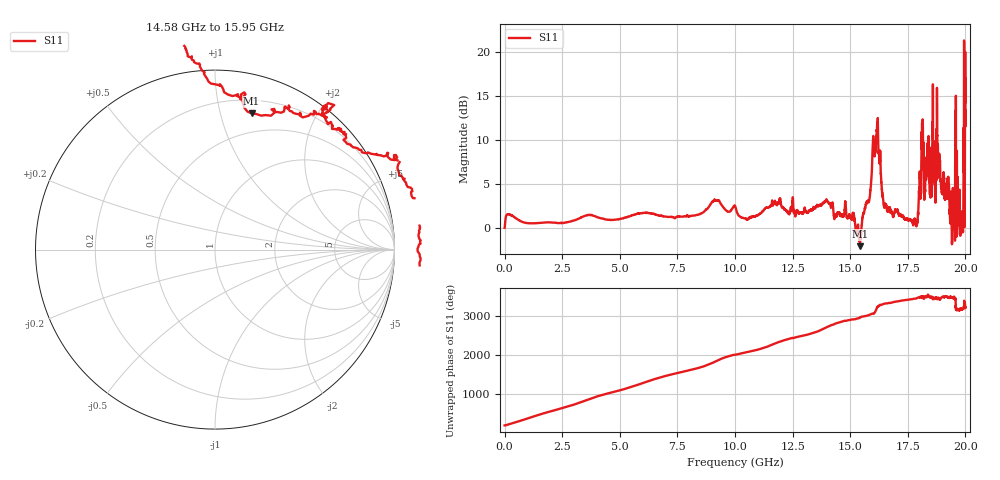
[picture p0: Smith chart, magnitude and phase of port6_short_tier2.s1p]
! Created with skrf 1.8.0 (http://scikit-rf.org).
# GHz S RI R 50.0
!freq ReS11 ImS11
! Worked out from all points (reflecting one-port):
!   10001 points, 1 MHz to 20 GHz, reference 50 ohm
!   lowest |S11| = -2.1 dB at 15.43 GHz (marker M1), VSWR 8.34, Z = 15.8 + j62.7 ohm
!   phase of S11 starts at 180 deg and turns +3018 deg over the sweep
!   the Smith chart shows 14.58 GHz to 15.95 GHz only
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0.001  -0.9999 0.00306
0.9729514  1.057 -0.1231
1.530924  -0.202 1.047
2.500875  -0.1408 -1.057
3.440828  0.0816 1.162
4.312784  -0.28 -1.088
5.00075  1.121 0.0389
5.936703  -1.205 0.1026
6.450678  0.1913 -1.191
7.500625  0.0637 1.158
8.282586  -1.133 -0.3201
9.084546  1.425 0.1234
10.0005  -1.281 -0.3779
11.14844  1.214 -0.1115
11.61842  -0.1461 1.393
12.50038  0.00013 -1.401
13.27034  1.215 0.3349
13.9783  -1.446 -0.0946
15.00025  1.127 0.2754
15.42623  0.2034 0.7591
16.0042  -3.132 0.5876
16.13019  0.5156 -3.012
16.24219  2.545 0.798
17.50013  -1.091 0.1756
18.0941  -0.6576 -2.498
18.84406  -1.635 -1.289
19.81601  0.4918 -0.9989
20  3.454 -3.162
